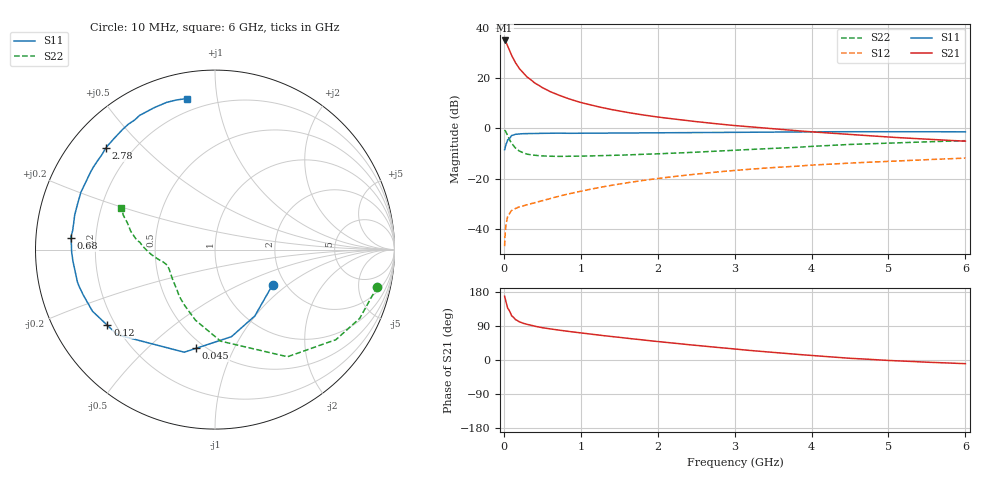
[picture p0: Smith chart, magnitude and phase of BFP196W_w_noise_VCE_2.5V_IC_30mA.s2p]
! Infineon Technologies  Discrete & RF Semiconductors
! BFP196W
! VCE = 2.5 V,  IC =  30mA
! Common Emitter S-Parameters:  Jan 2016
# GHz  S  MA  R  50
!  f  S11  S21  S12  S22
! GHz  MAG  ANG  MAG  ANG  MAG  ANG  MAG  ANG
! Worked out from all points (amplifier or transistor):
!   210 points, 10 MHz to 6 GHz, reference 50 ohm
!   highest |S21| = 35.1 dB at 10 MHz (marker M1)
!   |S21| within 3 dB of that: start of sweep to 60.96 MHz
!   unconditionally stable (mu >= 1): 754.5 MHz to 3.364 GHz
!   at 185 MHz: K = 0.43, MSG = 28.1 dB, |S12| = -31.5 dB
!   at 1.52 GHz: K = 1.12, MAG = 12.3 dB, |S12| = -22.1 dB
!   at 6 GHz: K = 0.95, MSG = 3.4 dB, |S12| = -11.8 dB
!   lowest NFmin = 1.40 dB at 500 MHz
!   S11 on the Smith chart (normalised r, x): 10 MHz: 1.71, -0.79; 45 MHz: 0.45, -0.72; 120 MHz: 0.17, -0.31; 680 MHz: 0.11, +0.04; 2.78 GHz: 0.11, +0.39; 6 GHz: 0.13, +0.82
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0.01  0.3762 -31.6  56.72 168.3  0.0045 78.1  0.9273 -12.9
0.02  0.431 -59.0  55.44 159.8  0.0093 72.5  0.8927 -25.4
0.03  0.4938 -79.3  51.95 151.1  0.0127 65.2  0.84 -36.7
0.045  0.5601 -100.9  45.54 140.8  0.0163 55.1  0.7421 -50.6
0.05  0.5968 -106.7  43.79 136.7  0.0176 52.7  0.7207 -55.9
0.1  0.7218 -138.9  28.64 117.0  0.0231 38.7  0.511 -86.5
0.12  0.7331 -144.9  25.29 113.7  0.024 37.0  0.4642 -93.0
0.15  0.7641 -153.3  20.5 106.7  0.0254 34.7  0.4084 -105.4
0.2  0.7767 -161.1  15.71 101.0  0.0272 35.2  0.3557 -118.0
0.26  0.7874 -166.8  12.38 96.4  0.0287 36.3  0.3245 -128.2
0.3  0.7879 -169.7  10.67 94.0  0.03 37.4  0.3075 -133.8
0.4  0.7941 -175.3  8.089 89.1  0.033 40.6  0.2918 -142.9
0.5  0.7991 -179.3  6.516 85.2  0.0362 44.3  0.2837 -149.0
0.68  0.8047 175.5  4.849 79.9  0.0431 49.2  0.2777 -155.5
1.02  0.8027 167.9  3.233 71.1  0.0568 54.4  0.281 -161.6
1.4  0.8077 160.6  2.38 61.9  0.0734 56.5  0.2907 -165.0
2.02  0.8153 149.5  1.674 48.4  0.1014 55.8  0.3131 -169.1
2.78  0.8305 137.1  1.232 33.2  0.1358 51.4  0.353 -175.2
3.1  0.8364 132.2  1.11 27.2  0.1496 48.9  0.3738 -178.4
4.1  0.8573 118.2  0.837 10.6  0.1894 41.2  0.4467 172.0
5.1  0.8626 107.4  0.66 -2.0  0.2245 33.3  0.5172 162.3
6  0.8559 100.4  0.558 -9.7  0.256 26.9  0.5703 156.2
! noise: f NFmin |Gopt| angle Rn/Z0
0.5  1.4  0.4  -173  0.08
0.9  1.6  0.5  -166  0.08
1.5  2.4  0.61  -150  0.14
2  2.9  0.71  -129  0.2
